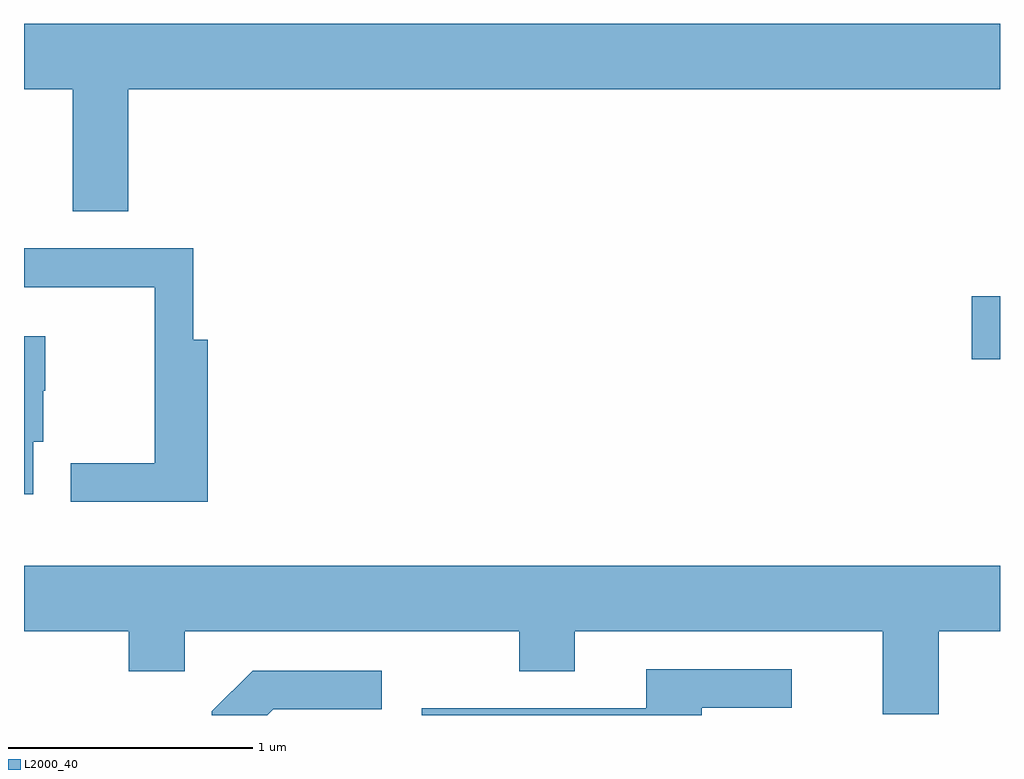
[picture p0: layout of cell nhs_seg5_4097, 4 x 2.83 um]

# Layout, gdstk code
import gdstk
lib = gdstk.Library(unit=1e-6, precision=1e-09)
def R(c, l, rs):  # rectangles x0, y0, x1, y1
    for r in rs: c.add(gdstk.rectangle(r[:2], r[2:], *l))
def P(c, l, *ps):  # polygons
    for p in ps: c.add(gdstk.Polygon(p, *l))
L2000_40 = (2000, 40)

nhs_seg5_4097 = lib.new_cell('nhs_seg5_4097')
R(nhs_seg5_4097, L2000_40, [(311.496,1393.531,311.611,1393.789)])
P(nhs_seg5_4097, L2000_40, [(308.039,1394.636),(311.611,1394.636),(311.611,1394.904),(307.611,1394.904),(307.611,1394.636),(307.811,1394.636),(307.811,1394.136),(308.039,1394.136)],
  [(308.364,1393.609),(308.304,1393.609),(308.304,1393.984),(307.611,1393.984),(307.611,1393.826),(308.146,1393.826),(308.146,1393.104),(307.803,1393.104),(307.803,1392.946),(308.364,1392.946)],
  [(307.649,1393.191),(307.689,1393.191),(307.689,1393.4),(307.699,1393.4),(307.699,1393.624),(307.611,1393.624),(307.611,1392.976),(307.649,1392.976)],
  [(311.359,1392.416),(311.611,1392.416),(311.611,1392.684),(307.611,1392.684),(307.611,1392.416),(308.041,1392.416),(308.041,1392.251),(308.269,1392.251),(308.269,1392.416),(309.641,1392.416),(309.641,1392.251),(309.869,1392.251),(309.869,1392.416),(311.131,1392.416),(311.131,1392.076),(311.359,1392.076)],
  [(310.389,1392.101),(310.758,1392.101),(310.758,1392.259),(310.161,1392.259),(310.161,1392.099),(309.241,1392.099),(309.241,1392.072),(310.389,1392.072)],
  [(308.632,1392.096),(309.078,1392.096),(309.078,1392.254),(308.549,1392.254),(308.381,1392.087),(308.381,1392.072),(308.608,1392.072)])

lib.write_gds('nhs_seg5_4097.gds')
